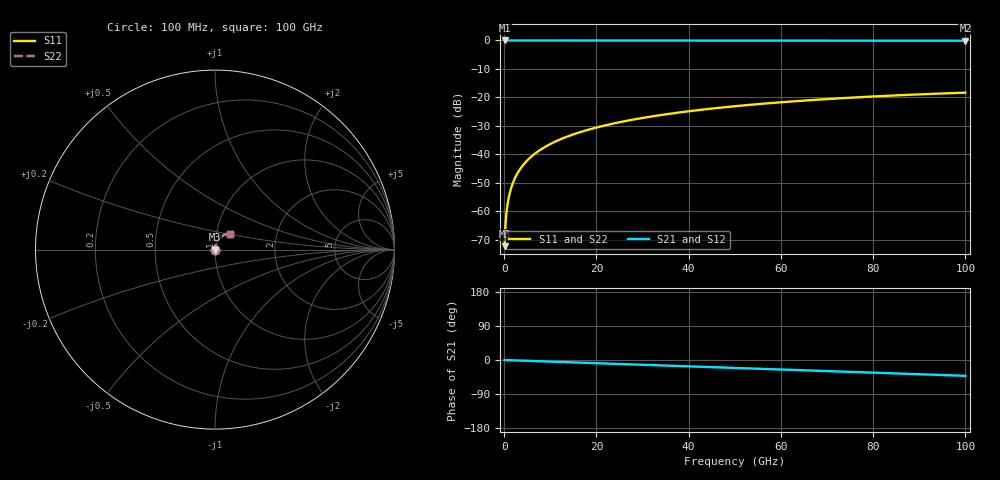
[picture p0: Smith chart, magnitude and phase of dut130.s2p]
! Touchstone file exported from HFSS 2026.1.0
!  File:  C:/ffzhzh/LocalFiles/Ansys_Project_Files/temp_train_TSV_130_1783506253_44152.aedt
!  Generated:  06:25:35 PM Jul  8, 2026
!  Design:  TSV
!  Project:  temp_train_TSV_130_1783506253_44152
! Variables:
!  h_bsmrdl = 2um
!  h_ox = 20um
!  h_rdl = 5um
!  h_sub = 81.49um
!  h_tmrdl = 5um
!  h_tsv = 81.49um
!  h_via = 3um
!  l_bsmrdl = 300um
!  l_sub = 417.78um
!  l_tmrdl = 200um
!  m_sub = 200um
!  pitch = 46.08um
!  r_tsv = 8.89um
!  s_tmrdl = 10um
!  w_bsmrdl = 18um
!  w_sub = 500um
!  w_tmrdl = 12um
!  x_tsv_center1 = 206um
!  x_tsv_center2 = 524um
!  x_tsv_center3 = 736um
!  x_tsv_center4 = 1054um
!  x_tsv_center5 = 1266um
!  x_tsv_center6 = 1584um
# GHz S MA R 50.000000
! Terminal data exported
! Port[1] = TSV1_1_T1
! Port[2] = TSV1_1_T2
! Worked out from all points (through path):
!   1000 points, 100 MHz to 100 GHz, reference 50 ohm
!   highest |S21| = 0.00 dB at 100 MHz (marker M1); lowest = -0.1 dB at 100 GHz (marker M2)
!   group delay of S21, straight-line fit = 1.16 ps
!   lowest |S11| = -72.2 dB at 100 MHz (marker M3), VSWR 1.00, Z = 50 + j0.0191 ohm
!   |S11| at or under -10 dB: start of sweep to end of sweep
!   |S22| runs from -72.2 to -18.3 dB; largest |S21 - S12| = 3.6e-15
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0.1  0.0002452 51.3  0.9998 -0.0  0.9998 -0.0  0.0002452 51.3
! Gamma 0 0 0 0
! Port Impedance 50 0 50 0
0.4  0.0007656 74.4  0.9998 -0.2  0.9998 -0.2  0.0007656 74.4
0.7  0.001267 77.8  0.9997 -0.3  0.9997 -0.3  0.001267 77.8
0.8  0.001429 78.4  0.9997 -0.3  0.9997 -0.3  0.001429 78.4
1  0.00175 79.4  0.9997 -0.4  0.9997 -0.4  0.00175 79.4
1.3  0.002224 80.4  0.9996 -0.6  0.9996 -0.6  0.002224 80.4
1.7  0.00285 81.2  0.9996 -0.7  0.9996 -0.7  0.00285 81.2
2.3  0.003776 81.9  0.9995 -1.0  0.9995 -1.0  0.003776 81.9
3  0.004842 82.3  0.9994 -1.3  0.9994 -1.3  0.004842 82.3
3.8  0.006046 82.6  0.9994 -1.6  0.9994 -1.6  0.006046 82.6
4.8  0.007538 82.8  0.9993 -2.0  0.9993 -2.0  0.007538 82.8
6  0.00932 82.8  0.9992 -2.5  0.9992 -2.5  0.00932 82.8
8.8  0.01345 82.4  0.999 -3.7  0.999 -3.7  0.01345 82.4
12.4  0.0187 81.4  0.9987 -5.2  0.9987 -5.2  0.0187 81.3
16.8  0.02504 80.0  0.9984 -7.1  0.9984 -7.1  0.02505 79.9
24.2  0.03556 77.3  0.9978 -10.2  0.9978 -10.2  0.03556 77.3
33.4  0.04831 73.9  0.997 -14.0  0.997 -14.0  0.04831 73.8
41.2  0.05876 70.8  0.9963 -17.3  0.9963 -17.3  0.05876 70.8
50.1  0.07021 67.3  0.9953 -21.0  0.9953 -21.0  0.07021 67.2
66.7  0.08995 60.6  0.9934 -27.9  0.9934 -27.9  0.08995 60.5
83.4  0.1072 53.8  0.9914 -34.8  0.9914 -34.8  0.1072 53.8
100  0.1212 47.1  0.9894 -41.7  0.9894 -41.7  0.1212 47.0
